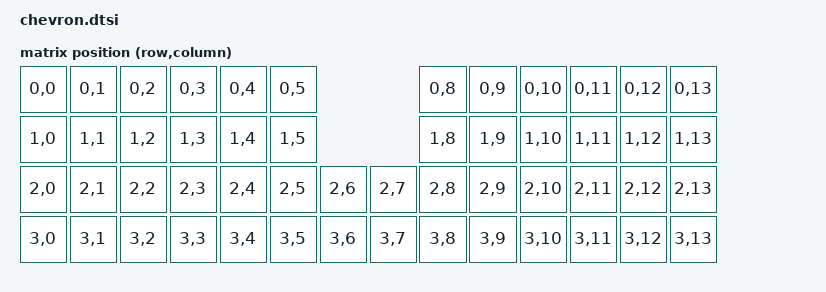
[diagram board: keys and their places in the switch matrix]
#include "chevron-layouts.dtsi"
#include <dt-bindings/zmk/matrix_transform.h> // Put this with the other includes at the top of your dtsi

/ {
    kscan0: kscan0 {
        compatible = "zmk,kscan-gpio-matrix";
        diode-direction = "col2row";
        wakeup-source;
    };
};

/ {
    default_transform: keymap_transform0 {
        compatible = "zmk,matrix-transform";
        columns = <14>;
        rows = <4>;
        map = <
        //  LKey 1 |LKey 2 |LKey 3 |LKey 4 |LKey 5 |LKey 6                      RKey 2 |RKey 3 |RKey 4 |RKey 5 |RKey 6 |RKey 7
            RC(0,0) RC(0,1) RC(0,2) RC(0,3) RC(0,4) RC(0,5)                     RC(0,8) RC(0,9) RC(0,10) RC(0,11) RC(0,12) RC(0,13)
        //  LKey 8 |LKey 9 |LKey 10|LKey 11|LKey 12|LKey 13                     RKey 9 |RKey 10|RKey 11|RKey 12|RKey 13|RKey 14
            RC(1,0) RC(1,1) RC(1,2) RC(1,3) RC(1,4) RC(1,5)                     RC(1,8) RC(1,9) RC(1,10) RC(1,11) RC(1,12) RC(1,13)
        //  LKey 15|LKey 16|LKey 17|LKey 18|LKey 19|LKey 20|LKey 21     RKey 15|RKey 16|RKey 17|RKey 18|RKey 19|RKey 20|RKey 21
            RC(2,0) RC(2,1) RC(2,2) RC(2,3) RC(2,4) RC(2,5) RC(2,6)     RC(2,7) RC(2,8) RC(2,9) RC(2,10) RC(2,11) RC(2,12) RC(2,13)
        //  LKey 22|LKey 23|LKey 24|LKey 25|LKey 26|LKey 27|LKey 28     RKey 22|RKey 23|RKey 24|RKey 25|RKey 26|RKey 27|RKey 28
            RC(3,0) RC(3,1) RC(3,2) RC(3,3) RC(3,4) RC(3,5) RC(3,6)     RC(3,7) RC(3,8) RC(3,9) RC(3,10) RC(3,11) RC(3,12) RC(3,13)
        >;
    };
};

/ {
    chosen {
        zmk,physical-layout = &chevron_physical_layout;
        // Other chosen items
    };
};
